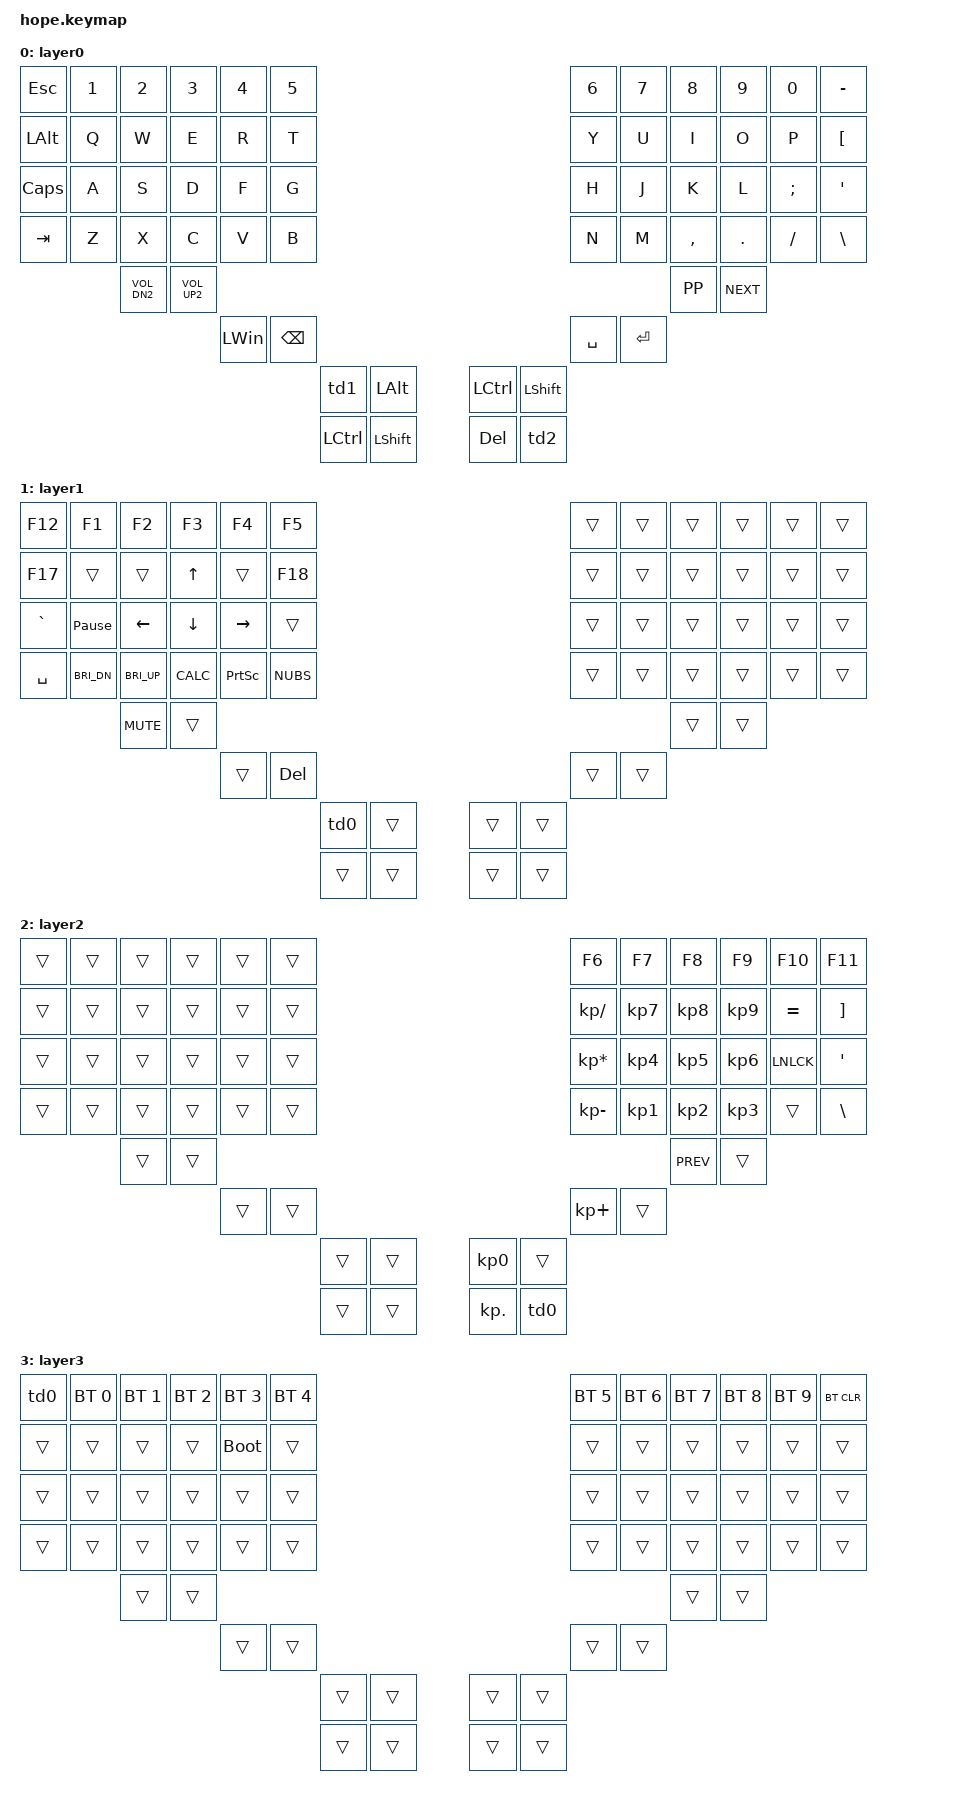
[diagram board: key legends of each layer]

  /*
  * Copyright (c) 2020 The ZMK Contributors
  *
  * SPDX-License-Identifier: MIT
  */

  #include <behaviors.dtsi>
  #include <dt-bindings/zmk/keys.h>
  #include <dt-bindings/zmk/bt.h>
  #include <dt-bindings/zmk/ext_power.h>
  #include "keys_it.h"
/ {
    behaviors {
        td0: tap_dance_0 {
            compatible = "zmk,behavior-tap-dance";
            #binding-cells = <0>;
            tapping-term-ms = <200>;
            bindings = <&mo 0 &to 0>;
        };
        td1: tap_dance_1 {
            compatible = "zmk,behavior-tap-dance";
            #binding-cells = <0>;
            tapping-term-ms = <200>;
            bindings = <&mo 1 &to 1>;
        };
        td2: tap_dance_2 {
            compatible = "zmk,behavior-tap-dance";
            #binding-cells = <0>;
            tapping-term-ms = <200>;
            bindings = <&mo 2 &to 2>;
        };
        btl: ble_layer {
            compatible = "zmk,behavior-tap-dance";
            #binding-cells = <0>;
            tapping-term-ms = <200>;
            bindings = <&kp ESC &kp ESC &kp ESC &kp ESC &to 3 >;
        };
    };

    keymap {
      compatible = "zmk,keymap";
  layer0 {
          bindings = <
            &kp ESC &kp N1 &kp N2 &kp N3 &kp N4 &kp N5     &kp N6 &kp N7 &kp N8 &kp N9 &kp N0 &kp MINUS 
            &kp LALT &kp Q &kp W &kp E &kp R &kp T        &kp Y &kp U &kp I &kp O &kp P &kp LBKT 
            &kp CAPS &kp A &kp S &kp D &kp F &kp G        &kp H &kp J &kp K &kp L &kp SEMICOLON &kp SQT 
            &kp TAB  &kp Z &kp X &kp C &kp V &kp B            &kp N &kp M &kp COMMA &kp DOT &kp FSLH &kp BSLH 

              &kp K_VOL_DN2 &kp K_VOL_UP2                 &kp K_PP &kp K_NEXT 
                      &kp LWIN &kp BSPC                  &kp SPACE &kp RET 
                      &td1 &kp LALT                         &kp LCTRL  &kp LSHFT 
                      &kp LCTRL  &kp LSHFT            &kp DEL &td2
          >;
        };layer1 {
          bindings = <
            &kp F12 &kp F1 &kp F2 &kp F3 &kp F4 &kp F5                                                              &trans &trans &trans &trans &trans &trans
            &kp F17 &trans &trans &kp UP &trans &kp F18                                                              &trans &trans &trans &trans &trans &trans 
            &kp GRAVE &kp PAUSE_BREAK &kp LEFT &kp DOWN &kp RIGHT                                                   &trans &trans &trans &trans &trans &trans &trans 
            &kp SPACE &kp C_BRI_DN &kp C_BRI_UP &kp K_CALC &kp PSCRN &kp NUBS          &trans &trans &trans &trans &trans &trans 

                &kp K_MUTE &trans                                                                                       &trans &trans 
                        &trans &kp DELETE                                                                                       &trans &trans 
                                &td0 &trans                                                                                   &trans &trans 
                                &trans &trans                                                                                   &trans &trans
          >;
        };layer2 {
          bindings = <
          &trans &trans &trans &trans &trans &trans     &kp F6 &kp F7 &kp F8 &kp F9 &kp F10 &kp F11 
          &trans &trans &trans &trans &trans &trans     &kp KP_SLASH &kp KP_N7 &kp KP_N8 &kp KP_N9 &kp EQUAL &kp RBKT 
          &trans &trans &trans &trans &trans &trans     &kp KP_ASTERISK &kp KP_N4 &kp KP_N5 &kp KP_N6 &kp LNLCK &kp SQT 
          &trans &trans &trans &trans &trans &trans     &kp KP_MINUS &kp KP_N1 &kp KP_N2 &kp KP_N3 &trans &kp BSLH 
                        &trans &trans                                       &kp K_PREV &trans 
                        &trans &trans                                       &kp KP_PLUS &trans 
                        &trans &trans                                       &kp KP_N0 &trans 
                        &trans &trans                                       &kp KP_DOT &td0
          >;
        };layer3 {
          bindings = <
          &td0   &bt BT_SEL 0 &bt BT_SEL 1 &bt BT_SEL 2 &bt BT_SEL 3 &bt BT_SEL 4     &bt BT_SEL 5 &bt BT_SEL 6 &bt BT_SEL 7 &bt BT_SEL 8  &bt BT_SEL 9 &bt BT_CLR
          &trans &trans &trans &trans &bootloader &trans                                   &trans &trans &trans &trans &trans &trans
          &trans &trans &trans &trans &trans &trans                                   &trans &trans &trans &trans &trans &trans
          &trans &trans &trans &trans &trans &trans                                   &trans &trans &trans &trans &trans &trans 
                        &trans &trans                                                               &trans &trans               
                               &trans &trans                                                 &trans &trans                                   
                                    &trans &trans                                       &trans &trans         
                                    &trans &trans                                       &trans &trans
          >;
        };

        extra1 {
            status = "reserved";
        };
        extra2 {
            status = "reserved";
        };
    };

};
